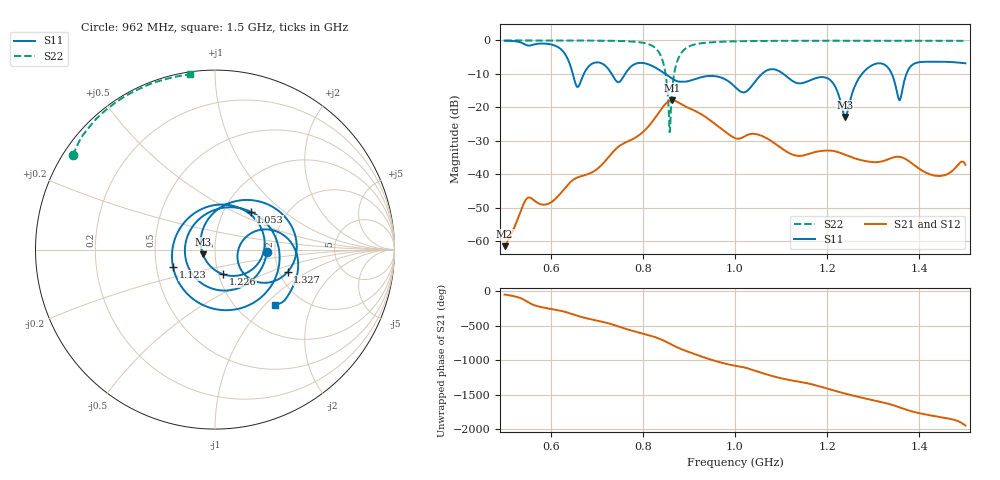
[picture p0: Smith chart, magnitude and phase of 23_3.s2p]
! TOUCHSTONE file generated by CST MICROWAVE STUDIO
! Date and time: Fri Dec 11 14:13:21 2020
! Project name: Scenario_1_Planar_Body_Tissue_Out_of_Line_v2.cst
! Parameters = {dy1=34.6; L_HA=400; Ltissue=700; MT=2.54; Rad_Dielectric=30; Rad_Lower=7.3; Rad_Upper=30; Wtissue=700; a_HA=580; a_WG=246; b_HA=500; b_WG=121; c_HA=0; c_WG=187; d_feed=85; dx1=520; h_feed=15; h_lower=18; h_upper=40; hfat=3; hgap=25; hmuscle=50; hskin=1.5}
! Header version: 2018
! Port assignment regex: !\s*Touchstone port\s*([0-9]+)\s*=\s*(CST MWS port|CST DS port)\s*([0-9]+|Zmin|Zmax)\s*\(\"(.*)\"\)(\s*mode\s*([0-9]+))?.*
! Touchstone port assignment:
! Touchstone port 1 = CST MWS port 1 ("")
! Touchstone port 2 = CST MWS port 2 ("")
# GHz S DB R 50
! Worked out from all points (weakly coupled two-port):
!   1003 points, 500 MHz to 1.5 GHz, reference 50 ohm
!   highest |S21| = -17.91 dB at 863 MHz (marker M1); lowest = -61.4 dB at 500 MHz (marker M2)
!   lowest |S11| = -22.8 dB at 1.239 GHz (marker M3), VSWR 1.16, Z = 43.7 - j2.38 ohm
!   |S11| at or under -10 dB: 848.9 MHz to 1.058 GHz (209.6 MHz wide, 22 % of centre); 1.105 GHz to 1.276 GHz (170.7 MHz wide, 14.3 % of centre); 1.34 GHz to 1.372 GHz (31.75 MHz wide, 2.34 % of centre) (the widest 3 of 5)
!   |S22| runs from -27.4 to 0.0 dB; largest |S21 - S12| = 3.9e-05
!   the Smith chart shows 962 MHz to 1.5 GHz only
!   S11 on the Smith chart (normalised r, x): 962 MHz: 1.81, -0.04; 1.053 GHz: 1.33, +0.61; 1.123 GHz: 0.61, -0.13; 1.226 GHz: 1.05, -0.30; 1.327 GHz: 2.22, -0.67; 1.5 GHz: 1.48, -1.15
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0.5  -0.07 -122.0  -61.44 -48.6  -61.44 -48.6  -0.01 151.2
0.548  -1.44 -145.7  -47.23 -147.4  -47.23 -147.4  -0.01 147.9
0.63  -3.83 146.0  -44.26 62.4  -44.26 62.4  -0.03 141.7
0.667  -11.65 178.7  -40.50 -14.0  -40.50 -14.0  -0.04 138.4
0.716  -7.29 105.8  -36.39 -89.5  -36.39 -89.5  -0.09 132.9
0.741  -11.89 9.0  -32.46 -137.7  -32.46 -137.7  -0.14 129.1
0.786  -6.89 166.7  -28.83 130.1  -28.83 130.1  -0.42 118.4
0.834  -8.67 44.2  -21.69 35.8  -21.69 35.8  -3.36 84.4
0.863  -11.35 -44.1  -17.91 -56.8  -17.91 -56.8  -15.77 -132.0
0.886  -12.31 -128.2  -19.24 -126.9  -19.24 -126.8  -3.28 -178.4
0.962  -10.79 -2.3  -25.50 59.3  -25.50 59.3  -0.45 146.4
1  -13.86 -110.7  -29.16 -0.1  -29.16 -0.1  -0.26 140.3
1.053  -10.76 46.8  -28.24 -93.9  -28.24 -93.9  -0.16 134.2
1.123  -11.95 -157.7  -34.00 146.6  -34.00 146.6  -0.11 127.8
1.167  -11.68 72.4  -33.56 89.7  -33.56 89.7  -0.10 124.2
1.226  -16.76 -71.5  -33.46 -21.6  -33.46 -21.6  -0.08 119.7
1.239  -22.84 -157.9  -34.15 -45.2  -34.15 -45.2  -0.08 118.7
1.327  -7.46 -17.0  -35.78 178.7  -35.78 178.7  -0.08 112.1
1.334  -8.46 -27.4  -35.41 166.3  -35.41 166.3  -0.08 111.6
1.357  -17.87 -8.1  -34.75 116.4  -34.75 116.4  -0.09 109.8
1.389  -6.94 -1.0  -37.24 49.2  -37.24 49.2  -0.09 107.3
1.5  -6.82 -42.3  -37.12 -146.2  -37.12 -146.2  -0.13 98.0
